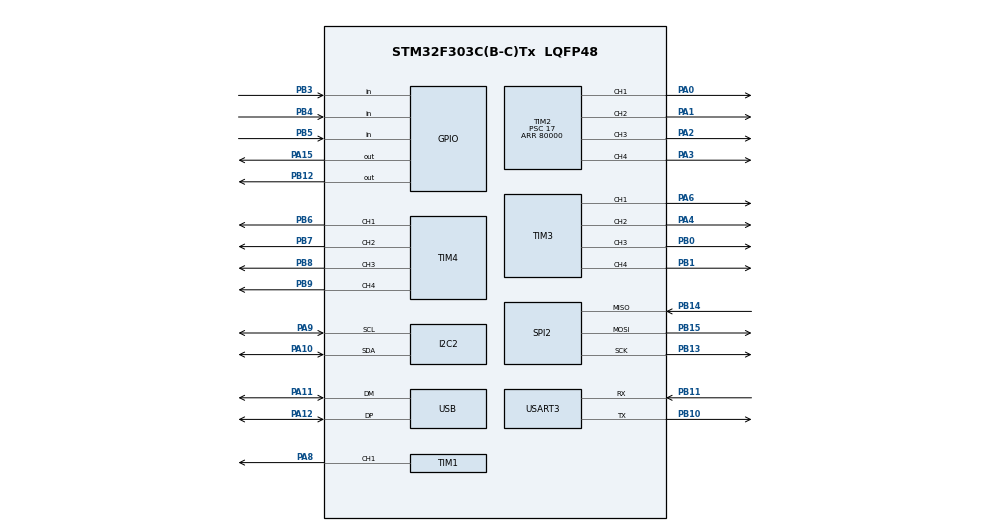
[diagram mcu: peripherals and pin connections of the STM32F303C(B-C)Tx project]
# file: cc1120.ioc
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I2C2.Timing-I2C=0x10808DD3
Mcu.Family=STM32F3
Mcu.Name=STM32F303C(B-C)Tx
Mcu.Package=LQFP48
NVIC.PriorityGroup=NVIC_PRIORITYGROUP_0
NVIC.USB_LP_CAN_RX0_IRQn=true\:0\:0
PA0.Signal=S_TIM2_CH1_ETR
PA1.Signal=S_TIM2_CH2
PA10.Mode=I2C
PA10.Signal=I2C2_SDA
PA11.Mode=Device
PA11.Signal=USB_DM
PA12.Mode=Device
PA12.Signal=USB_DP
PA13.Mode=Serial-Wire
PA13.Signal=SYS_JTMS-SWDIO
PA14.Mode=Serial-Wire
PA14.Signal=SYS_JTCK-SWCLK
PA15.Signal=GPIO_Output
PA2.Signal=S_TIM2_CH3
PA3.Signal=S_TIM2_CH4
PA4.Signal=S_TIM3_CH2
PA6.Signal=S_TIM3_CH1
PA8.Signal=S_TIM1_CH1
PA9.Mode=I2C
PA9.Signal=I2C2_SCL
PB0.Signal=S_TIM3_CH3
PB1.Signal=S_TIM3_CH4
PB10.Mode=Asynchronous
PB10.Signal=USART3_TX
PB11.Mode=Asynchronous
PB11.Signal=USART3_RX
PB12.Signal=GPIO_Output
PB13.Mode=Full_Duplex_Master
PB13.Signal=SPI2_SCK
PB14.Mode=Full_Duplex_Master
PB14.Signal=SPI2_MISO
PB15.Mode=Full_Duplex_Master
PB15.Signal=SPI2_MOSI
PB3.Signal=GPIO_Input
PB4.Signal=GPIO_Input
PB5.Signal=GPIO_Input
PB6.Signal=S_TIM4_CH1
PB7.Signal=S_TIM4_CH2
PB8.Signal=S_TIM4_CH3
PB9.Signal=S_TIM4_CH4
PF0-OSC_IN.Mode=HSE-External-Oscillator
PF0-OSC_IN.Signal=RCC_OSC_IN
PF1-OSC_OUT.Mode=HSE-External-Oscillator
PF1-OSC_OUT.Signal=RCC_OSC_OUT
ProjectManager.TargetToolchain=MDK-ARM 4.73
RCC.APB1CLKDivider=RCC_HCLK_DIV2
RCC.HSE_VALUE=12000000
RCC.HSI_VALUE=8000000
RCC.I2c2ClockSelection=RCC_I2C2CLKSOURCE_SYSCLK
RCC.LSE_VALUE=32768
RCC.PLLMUL=RCC_PLL_MUL6
RCC.PLLSource=RCC_PLLSOURCE_HSE
RCC.PRESCALERUSB=RCC_USBPLLCLK_DIV1_5
RCC.RCC_MCOSource=RCC_MCOSOURCE_PLLCLK_DIV2
RCC.SYSCLKSource=RCC_SYSCLKSOURCE_PLLCLK
RCC.Usart3ClockSelection=RCC_USART3CLKSOURCE_SYSCLK
SH.S_TIM1_CH1.0=TIM1_CH1,Output Compare1 CH1
SH.S_TIM2_CH1_ETR.0=TIM2_CH1,PWM Generation1 CH1
SH.S_TIM2_CH2.0=TIM2_CH2,PWM Generation2 CH2
SH.S_TIM2_CH3.0=TIM2_CH3,PWM Generation3 CH3
SH.S_TIM2_CH4.0=TIM2_CH4,PWM Generation4 CH4
SH.S_TIM3_CH1.0=TIM3_CH1,PWM Generation1 CH1
SH.S_TIM3_CH2.0=TIM3_CH2,PWM Generation2 CH2
SH.S_TIM3_CH3.0=TIM3_CH3,PWM Generation3 CH3
SH.S_TIM3_CH4.0=TIM3_CH4,PWM Generation4 CH4
SH.S_TIM4_CH1.0=TIM4_CH1,PWM Generation1 CH1
SH.S_TIM4_CH2.0=TIM4_CH2,PWM Generation2 CH2
SH.S_TIM4_CH3.0=TIM4_CH3,PWM Generation3 CH3
SH.S_TIM4_CH4.0=TIM4_CH4,PWM Generation4 CH4
SPI2.BaudRatePrescaler-Full_Duplex_Master=SPI_BAUDRATEPRESCALER_8
SPI2.CalculateBaudRate-Full_Duplex_Master=4.5 MBits/s
SPI2.DataSize-Full_Duplex_Master=SPI_DATASIZE_8BIT
SPI2.Mode-Full_Duplex_Master=SPI_MODE_MASTER
TIM2.Channel-PWM\ Generation2\ CH2=TIM_CHANNEL_2
TIM2.Channel-PWM\ Generation3\ CH3=TIM_CHANNEL_3
TIM2.Channel-PWM\ Generation4\ CH4=TIM_CHANNEL_4
TIM2.Period=80000
TIM2.Prescaler=17
TIM2.Pulse-PWM\ Generation1\ CH1=0
TIM3.Channel-PWM\ Generation2\ CH2=TIM_CHANNEL_2
TIM3.Channel-PWM\ Generation3\ CH3=TIM_CHANNEL_3
TIM3.Channel-PWM\ Generation4\ CH4=TIM_CHANNEL_4
TIM4.Channel-PWM\ Generation2\ CH2=TIM_CHANNEL_2
TIM4.Channel-PWM\ Generation3\ CH3=TIM_CHANNEL_3
TIM4.Channel-PWM\ Generation4\ CH4=TIM_CHANNEL_4
USB_DEVICE.MANUFACTURER_STRING=DTF UHF
USB_DEVICE.PRODUCT_STRING_FS=DTF UHF \u00DCberLRS
USB_DEVICE.USBD_HandleTypeDef=hUsbDeviceFS
USB_DEVICE.USBD_SUPPORT_USER_STRING=1
USB_DEVICE.VirtualMode=Hid
USB_DEVICE.VirtualModeFS=Hid_FS
VP_USB_DEVICE_VS_USB_DEVICE_HID_FS.Mode=HID_FS

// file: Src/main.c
/**
  ******************************************************************************
  * File Name          : main.c
  * Date               : 20/09/2014 21:15:33
  * Description        : Main program body
  ******************************************************************************
  *
  * COPYRIGHT(c) 2014 STMicroelectronics
  *
  * Redistribution and use in source and binary forms, with or without modification,
  * are permitted provided that the following conditions are met:
  *   1. Redistributions of source code must retain the above copyright notice,
  *      this list of conditions and the following disclaimer.
  *   2. Redistributions in binary form must reproduce the above copyright notice,
  *      this list of conditions and the following disclaimer in the documentation
  *      and/or other materials provided with the distribution.
  *   3. Neither the name of STMicroelectronics nor the names of its contributors
  *      may be used to endorse or promote products derived from this software
  *      without specific prior written permission.
  *
  * THIS SOFTWARE IS PROVIDED BY THE COPYRIGHT HOLDERS AND CONTRIBUTORS "AS IS"
  * AND ANY EXPRESS OR IMPLIED WARRANTIES, INCLUDING, BUT NOT LIMITED TO, THE
  * IMPLIED WARRANTIES OF MERCHANTABILITY AND FITNESS FOR A PARTICULAR PURPOSE ARE
  * DISCLAIMED. IN NO EVENT SHALL THE COPYRIGHT HOLDER OR CONTRIBUTORS BE LIABLE
  * FOR ANY DIRECT, INDIRECT, INCIDENTAL, SPECIAL, EXEMPLARY, OR CONSEQUENTIAL
  * DAMAGES (INCLUDING, BUT NOT LIMITED TO, PROCUREMENT OF SUBSTITUTE GOODS OR
  * SERVICES; LOSS OF USE, DATA, OR PROFITS; OR BUSINESS INTERRUPTION) HOWEVER
  * CAUSED AND ON ANY THEORY OF LIABILITY, WHETHER IN CONTRACT, STRICT LIABILITY,
  * OR TORT (INCLUDING NEGLIGENCE OR OTHERWISE) ARISING IN ANY WAY OUT OF THE USE
  * OF THIS SOFTWARE, EVEN IF ADVISED OF THE POSSIBILITY OF SUCH DAMAGE.
  *
  ******************************************************************************
  */

#include "stm32f3xx_hal.h"
#include "usb_device.h"

I2C_HandleTypeDef hi2c2;

SPI_HandleTypeDef hspi2;

TIM_HandleTypeDef htim1;
TIM_HandleTypeDef htim2;
TIM_HandleTypeDef htim3;
TIM_HandleTypeDef htim4;

UART_HandleTypeDef huart3;

void SystemClock_Config(void);
static void MX_GPIO_Init(void);
static void MX_I2C2_Init(void);
static void MX_SPI2_Init(void);
static void MX_TIM1_Init(void);
static void MX_TIM2_Init(void);
static void MX_TIM3_Init(void);
static void MX_TIM4_Init(void);
static void MX_USART3_UART_Init(void);

int main(void)
{

  /* USER CODE BEGIN 1 */

#include "drv_cc1125.h"

    // TODO: set SPI frequency properly. see cc1125 user guide section 3.1.1 page 8 for SPI speeds and required delays

  /* USER CODE END 1 */

  /* MCU Configuration----------------------------------------------------------*/

  /* Reset of all peripherals, Initializes the Flash interface and the Systick. */
  HAL_Init();

  /* Configure the system clock */
  SystemClock_Config();

  /* System interrupt init*/
  /* Sets the priority grouping field */
  HAL_NVIC_SetPriorityGrouping(NVIC_PRIORITYGROUP_0);
  HAL_NVIC_SetPriority(SysTick_IRQn, 0, 0);

  /* Initialize all configured peripherals */
  MX_GPIO_Init();
  MX_I2C2_Init();
  MX_SPI2_Init();
  MX_TIM1_Init();
  MX_TIM2_Init();
  MX_TIM3_Init();
  MX_TIM4_Init();
  MX_USART3_UART_Init();
  MX_USB_DEVICE_Init();

  /* USER CODE BEGIN 2 */

  cc1125_spi_init();
  initcc1125();

  uint8_t txTest[] = {0x00, 0x55, 0xAA, 0xFF};
  uint8_t rxTest[4];
  uint32_t servoTimer = 0;
  uint32_t servoPulse = 1000;
  HAL_TIM_PWM_Start(&htim2,TIM_CHANNEL_1);

  /* USER CODE END 2 */

  /* USER CODE BEGIN 3 */
  /* Infinite loop */

  while (1)
  {
#if 0
    /* TX TEST */
    cc1125WriteFifo(txTest, sizeof(txTest));
    cc1125WriteStrobe(STROBE_STX); // start tx
    HAL_Delay(200);
#else
    /* RX TEST*/
    cc1125WriteStrobe(STROBE_SRX);
    HAL_Delay(300);
    cc1125ReadReg(REG_MARCSTATE); // read MARCSTATE
    cc1125ReadFifo(rxTest, 4);
    HAL_Delay(100);

    if (rxTest[1] == txTest[1])
    {
      htim2.Instance->CCR1 = 2000*4;
    } else {
      htim2.Instance->CCR1 = 1000*4;
    }

//    if (servoTimer < HAL_GetTick())
//    {
//      servoTimer = HAL_GetTick() + 1000;
//      htim2.Instance->CCR1 = servoPulse*4;
//      servoPulse = (servoPulse==1000)?2000:1000;
//    }
#endif
  }
  /* USER CODE END 3 */

}

/** System Clock Configuration
*/
void SystemClock_Config(void)
{

  RCC_ClkInitTypeDef RCC_ClkInitStruct;
  RCC_PeriphCLKInitTypeDef PeriphClkInit;
  RCC_OscInitTypeDef RCC_OscInitStruct;

  RCC_OscInitStruct.OscillatorType = RCC_OSCILLATORTYPE_HSE;
  RCC_OscInitStruct.HSEState = RCC_HSE_ON;
  RCC_OscInitStruct.HSEPredivValue = RCC_HSE_PREDIV_DIV1;
  RCC_OscInitStruct.PLL.PLLState = RCC_PLL_ON;
  RCC_OscInitStruct.PLL.PLLSource = RCC_PLLSOURCE_HSE;
  RCC_OscInitStruct.PLL.PLLMUL = RCC_PLL_MUL6;
  HAL_RCC_OscConfig(&RCC_OscInitStruct);

  RCC_ClkInitStruct.ClockType = RCC_CLOCKTYPE_SYSCLK|RCC_CLOCKTYPE_PCLK1;
  RCC_ClkInitStruct.SYSCLKSource = RCC_SYSCLKSOURCE_PLLCLK;
  RCC_ClkInitStruct.AHBCLKDivider = RCC_SYSCLK_DIV1;
  RCC_ClkInitStruct.APB1CLKDivider = RCC_HCLK_DIV2;
  RCC_ClkInitStruct.APB2CLKDivider = RCC_HCLK_DIV1;
  HAL_RCC_ClockConfig(&RCC_ClkInitStruct, FLASH_LATENCY_2);

  PeriphClkInit.PeriphClockSelection = RCC_PERIPHCLK_USB|RCC_PERIPHCLK_USART3
                              |RCC_PERIPHCLK_I2C2|RCC_PERIPHCLK_TIM1;
  PeriphClkInit.Usart3ClockSelection = RCC_USART3CLKSOURCE_SYSCLK;
  PeriphClkInit.I2c2ClockSelection = RCC_I2C2CLKSOURCE_SYSCLK;
  PeriphClkInit.USBClockSelection = RCC_USBPLLCLK_DIV1_5;
  PeriphClkInit.Tim1ClockSelection = RCC_TIM1CLK_HCLK;
  HAL_RCCEx_PeriphCLKConfig(&PeriphClkInit);

  __SYSCFG_CLK_ENABLE();

}

/* I2C2 init function */
void MX_I2C2_Init(void)
{

  hi2c2.Instance = I2C2;
  hi2c2.Init.Timing = 0x10808DD3;
  hi2c2.Init.OwnAddress1 = 0;
  hi2c2.Init.AddressingMode = I2C_ADDRESSINGMODE_7BIT;
  hi2c2.Init.DualAddressMode = I2C_DUALADDRESS_DISABLED;
  hi2c2.Init.OwnAddress2 = 0;
  hi2c2.Init.OwnAddress2Masks = I2C_OA2_NOMASK;
  hi2c2.Init.GeneralCallMode = I2C_GENERALCALL_DISABLED;
  hi2c2.Init.NoStretchMode = I2C_NOSTRETCH_DISABLED;
  HAL_I2C_Init(&hi2c2);

    /**Configure Analogue filter
    */
  HAL_I2CEx_AnalogFilter_Config(&hi2c2, I2C_ANALOGFILTER_ENABLED);

}

/* SPI2 init function */
void MX_SPI2_Init(void)
{

  hspi2.Instance = SPI2;
  hspi2.Init.Mode = SPI_MODE_MASTER;
  hspi2.Init.Direction = SPI_DIRECTION_2LINES;
  hspi2.Init.DataSize = SPI_DATASIZE_8BIT;
  hspi2.Init.CLKPolarity = SPI_POLARITY_LOW;
  hspi2.Init.CLKPhase = SPI_PHASE_1EDGE;
  hspi2.Init.NSS = SPI_NSS_SOFT;
  hspi2.Init.BaudRatePrescaler = SPI_BAUDRATEPRESCALER_8;
  hspi2.Init.FirstBit = SPI_FIRSTBIT_MSB;
  hspi2.Init.TIMode = SPI_TIMODE_DISABLED;
  hspi2.Init.CRCCalculation = SPI_CRCCALCULATION_DISABLED;
  hspi2.Init.NSSPMode = SPI_NSS_PULSE_ENABLED;
  HAL_SPI_Init(&hspi2);

}

/* TIM1 init function */
void MX_TIM1_Init(void)
{

  TIM_OC_InitTypeDef sConfigOC;
  TIM_BreakDeadTimeConfigTypeDef sBreakDeadTimeConfig;
  TIM_MasterConfigTypeDef sMasterConfig;

  htim1.Instance = TIM1;
  htim1.Init.Prescaler = 0;
  htim1.Init.CounterMode = TIM_COUNTERMODE_UP;
  htim1.Init.Period = 0;
  htim1.Init.ClockDivision = TIM_CLOCKDIVISION_DIV1;
  htim1.Init.RepetitionCounter = 0;
  HAL_TIM_OC_Init(&htim1);

  sConfigOC.OCMode = TIM_OCMODE_TIMING;
  sConfigOC.Pulse = 0;
  sConfigOC.OCPolarity = TIM_OCPOLARITY_HIGH;
  sConfigOC.OCIdleState = TIM_OCIDLESTATE_RESET;
  HAL_TIM_OC_ConfigChannel(&htim1, &sConfigOC, TIM_CHANNEL_1);

  sBreakDeadTimeConfig.OffStateRunMode = TIM_OSSR_DISABLE;
  sBreakDeadTimeConfig.OffStateIDLEMode = TIM_OSSI_DISABLE;
  sBreakDeadTimeConfig.LockLevel = TIM_LOCKLEVEL_OFF;
  sBreakDeadTimeConfig.DeadTime = 0;
  sBreakDeadTimeConfig.BreakState = TIM_BREAK_DISABLE;
  sBreakDeadTimeConfig.BreakPolarity = TIM_BREAKPOLARITY_HIGH;
  sBreakDeadTimeConfig.BreakFilter = 0;
  sBreakDeadTimeConfig.Break2State = TIM_BREAK2_DISABLE;
  sBreakDeadTimeConfig.Break2Polarity = TIM_BREAK2POLARITY_HIGH;
  sBreakDeadTimeConfig.Break2Filter = 0;
  sBreakDeadTimeConfig.AutomaticOutput = TIM_AUTOMATICOUTPUT_DISABLE;
  HAL_TIMEx_ConfigBreakDeadTime(&htim1, &sBreakDeadTimeConfig);

  sMasterConfig.MasterOutputTrigger = TIM_TRGO_RESET;
  sMasterConfig.MasterOutputTrigger2 = TIM_TRGO2_RESET;
  sMasterConfig.MasterSlaveMode = TIM_MASTERSLAVEMODE_DISABLE;
  HAL_TIMEx_MasterConfigSynchronization(&htim1, &sMasterConfig);

}

/* TIM2 init function */
void MX_TIM2_Init(void)
{

  TIM_OC_InitTypeDef sConfigOC;
  TIM_MasterConfigTypeDef sMasterConfig;

  htim2.Instance = TIM2;
  htim2.Init.Prescaler = 17;
  htim2.Init.CounterMode = TIM_COUNTERMODE_UP;
  htim2.Init.Period = 80000;
  htim2.Init.ClockDivision = TIM_CLOCKDIVISION_DIV1;
  HAL_TIM_PWM_Init(&htim2);

  sConfigOC.OCMode = TIM_OCMODE_PWM1;
  sConfigOC.Pulse = 0;
  sConfigOC.OCPolarity = TIM_OCPOLARITY_HIGH;
  sConfigOC.OCFastMode = TIM_OCFAST_DISABLE;
  HAL_TIM_PWM_ConfigChannel(&htim2, &sConfigOC, TIM_CHANNEL_1);

  HAL_TIM_PWM_ConfigChannel(&htim2, &sConfigOC, TIM_CHANNEL_2);

  HAL_TIM_PWM_ConfigChannel(&htim2, &sConfigOC, TIM_CHANNEL_3);

  HAL_TIM_PWM_ConfigChannel(&htim2, &sConfigOC, TIM_CHANNEL_4);

  sMasterConfig.MasterOutputTrigger = TIM_TRGO_RESET;
  sMasterConfig.MasterSlaveMode = TIM_MASTERSLAVEMODE_DISABLE;
  HAL_TIMEx_MasterConfigSynchronization(&htim2, &sMasterConfig);

}

/* TIM3 init function */
void MX_TIM3_Init(void)
{

  TIM_OC_InitTypeDef sConfigOC;
  TIM_MasterConfigTypeDef sMasterConfig;

  htim3.Instance = TIM3;
  htim3.Init.Prescaler = 0;
  htim3.Init.CounterMode = TIM_COUNTERMODE_UP;
  htim3.Init.Period = 0;
  htim3.Init.ClockDivision = TIM_CLOCKDIVISION_DIV1;
  HAL_TIM_PWM_Init(&htim3);

  sConfigOC.OCMode = TIM_OCMODE_PWM1;
  sConfigOC.Pulse = 0;
  sConfigOC.OCPolarity = TIM_OCPOLARITY_HIGH;
  sConfigOC.OCFastMode = TIM_OCFAST_DISABLE;
  HAL_TIM_PWM_ConfigChannel(&htim3, &sConfigOC, TIM_CHANNEL_1);

  HAL_TIM_PWM_ConfigChannel(&htim3, &sConfigOC, TIM_CHANNEL_2);

  HAL_TIM_PWM_ConfigChannel(&htim3, &sConfigOC, TIM_CHANNEL_3);

  HAL_TIM_PWM_ConfigChannel(&htim3, &sConfigOC, TIM_CHANNEL_4);

  sMasterConfig.MasterOutputTrigger = TIM_TRGO_RESET;
  sMasterConfig.MasterSlaveMode = TIM_MASTERSLAVEMODE_DISABLE;
  HAL_TIMEx_MasterConfigSynchronization(&htim3, &sMasterConfig);

}

/* TIM4 init function */
void MX_TIM4_Init(void)
{

  TIM_OC_InitTypeDef sConfigOC;
  TIM_MasterConfigTypeDef sMasterConfig;

  htim4.Instance = TIM4;
  htim4.Init.Prescaler = 0;
  htim4.Init.CounterMode = TIM_COUNTERMODE_UP;
  htim4.Init.Period = 0;
  htim4.Init.ClockDivision = TIM_CLOCKDIVISION_DIV1;
  HAL_TIM_PWM_Init(&htim4);

  sConfigOC.OCMode = TIM_OCMODE_PWM1;
  sConfigOC.Pulse = 0;
  sConfigOC.OCPolarity = TIM_OCPOLARITY_HIGH;
  sConfigOC.OCFastMode = TIM_OCFAST_DISABLE;
  HAL_TIM_PWM_ConfigChannel(&htim4, &sConfigOC, TIM_CHANNEL_1);

  HAL_TIM_PWM_ConfigChannel(&htim4, &sConfigOC, TIM_CHANNEL_2);

  HAL_TIM_PWM_ConfigChannel(&htim4, &sConfigOC, TIM_CHANNEL_3);

  HAL_TIM_PWM_ConfigChannel(&htim4, &sConfigOC, TIM_CHANNEL_4);

  sMasterConfig.MasterOutputTrigger = TIM_TRGO_RESET;
  sMasterConfig.MasterSlaveMode = TIM_MASTERSLAVEMODE_DISABLE;
  HAL_TIMEx_MasterConfigSynchronization(&htim4, &sMasterConfig);

}

/* USART3 init function */
void MX_USART3_UART_Init(void)
{

  huart3.Instance = USART3;
  huart3.Init.BaudRate = 38400;
  huart3.Init.WordLength = UART_WORDLENGTH_8B;
  huart3.Init.StopBits = UART_STOPBITS_1;
  huart3.Init.Parity = UART_PARITY_NONE;
  huart3.Init.Mode = UART_MODE_TX_RX;
  huart3.Init.HwFlowCtl = UART_HWCONTROL_NONE;
  huart3.Init.OverSampling = UART_OVERSAMPLING_16;
  huart3.Init.OneBitSampling = UART_ONEBIT_SAMPLING_DISABLED ;
  huart3.AdvancedInit.AdvFeatureInit = UART_ADVFEATURE_NO_INIT;
  HAL_UART_Init(&huart3);

}

/** Configure pins as
        * Analog
        * Input
        * Output
        * EVENT_OUT
        * EXTI
        * Free pins are configured automatically as Analog (this feature is enabled through
        * the Code Generation settings)
*/
void MX_GPIO_Init(void)
{

  GPIO_InitTypeDef GPIO_InitStruct;

  /* GPIO Ports Clock Enable */
  __GPIOC_CLK_ENABLE();
  __GPIOF_CLK_ENABLE();
  __GPIOA_CLK_ENABLE();
  __GPIOB_CLK_ENABLE();

  /*Configure GPIO pins : PC13 PC14 PC15 */
  GPIO_InitStruct.Pin = GPIO_PIN_13|GPIO_PIN_14|GPIO_PIN_15;
  GPIO_InitStruct.Mode = GPIO_MODE_ANALOG;
  GPIO_InitStruct.Pull = GPIO_NOPULL;
  HAL_GPIO_Init(GPIOC, &GPIO_InitStruct);

  /*Configure GPIO pins : PA5 PA7 */
  GPIO_InitStruct.Pin = GPIO_PIN_5|GPIO_PIN_7;
  GPIO_InitStruct.Mode = GPIO_MODE_ANALOG;
  GPIO_InitStruct.Pull = GPIO_NOPULL;
  HAL_GPIO_Init(GPIOA, &GPIO_InitStruct);

  /*Configure GPIO pin : PB2 */
  GPIO_InitStruct.Pin = GPIO_PIN_2;
  GPIO_InitStruct.Mode = GPIO_MODE_ANALOG;
  GPIO_InitStruct.Pull = GPIO_NOPULL;
  HAL_GPIO_Init(GPIOB, &GPIO_InitStruct);

  /*Configure GPIO pin : PB12 */
  GPIO_InitStruct.Pin = GPIO_PIN_12;
  GPIO_InitStruct.Mode = GPIO_MODE_OUTPUT_PP;
  GPIO_InitStruct.Pull = GPIO_NOPULL;
  GPIO_InitStruct.Speed = GPIO_SPEED_LOW;
  HAL_GPIO_Init(GPIOB, &GPIO_InitStruct);

  /*Configure GPIO pin : PA15 */
  GPIO_InitStruct.Pin = GPIO_PIN_15;
  GPIO_InitStruct.Mode = GPIO_MODE_OUTPUT_PP;
  GPIO_InitStruct.Pull = GPIO_NOPULL;
  GPIO_InitStruct.Speed = GPIO_SPEED_LOW;
  HAL_GPIO_Init(GPIOA, &GPIO_InitStruct);

  /*Configure GPIO pins : PB3 PB4 PB5 */
  GPIO_InitStruct.Pin = GPIO_PIN_3|GPIO_PIN_4|GPIO_PIN_5;
  GPIO_InitStruct.Mode = GPIO_MODE_INPUT;
  GPIO_InitStruct.Pull = GPIO_NOPULL;
  HAL_GPIO_Init(GPIOB, &GPIO_InitStruct);

}

/************************ (C) COPYRIGHT STMicroelectronics *****END OF FILE****/
